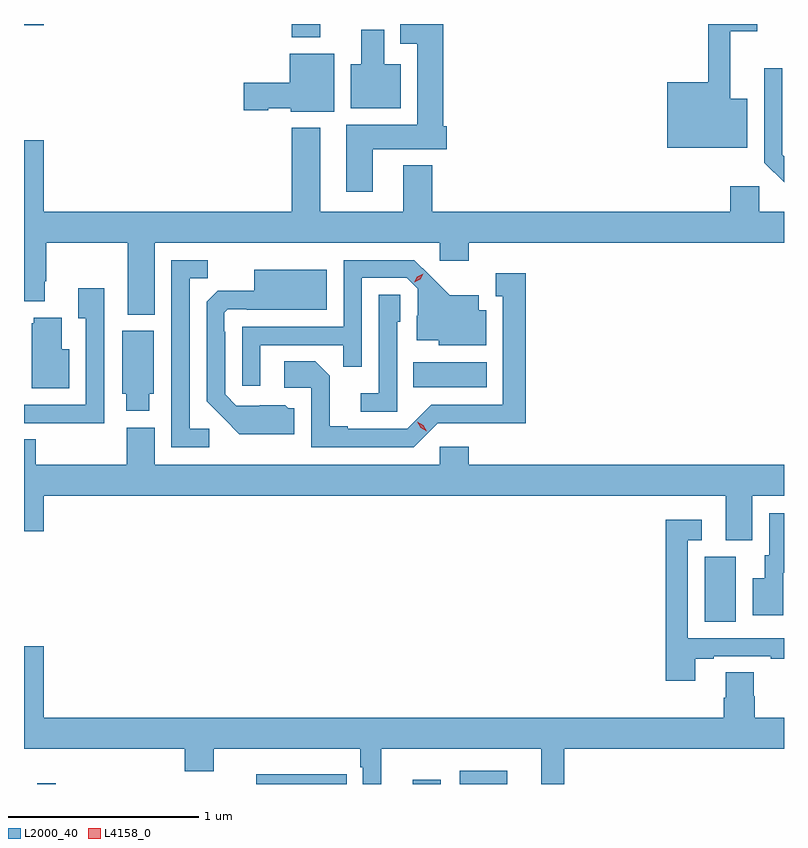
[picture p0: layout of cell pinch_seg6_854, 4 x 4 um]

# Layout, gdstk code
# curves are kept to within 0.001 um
import gdstk
lib = gdstk.Library(unit=1e-6, precision=1e-09)
def R(c, l, rs):  # rectangles x0, y0, x1, y1
    for r in rs: c.add(gdstk.rectangle(r[:2], r[2:], *l))
def P(c, l, *ps):  # polygons
    for p in ps: c.add(gdstk.Polygon(p, *l))
L2000_40 = (2000, 40)
L4158_0 = (4158, 0)

pinch_seg6_854 = lib.new_cell('pinch_seg6_854')
R(pinch_seg6_854, L2000_40, [(117.185,919.179,117.282,919.183), (119.162,919.179,119.308,919.201), (119.408,919.179,119.659,919.249), (120.698,920.032,120.862,920.376), (119.164,921.266,119.551,921.4), (118.523,923.108,118.675,923.179), (117.115,923.172,117.22,923.179)])
P(pinch_seg6_854, L2000_40, [(118.951,922.52),(119.339,922.52),(119.339,922.641),(119.321,922.641),(119.321,923.179),(119.096,923.179),(119.096,923.075),(119.186,923.075),(119.186,922.648),(118.811,922.648),(118.811,922.296),(118.951,922.296)],
  [(120.922,922.786),(120.833,922.786),(120.833,923.142),(120.973,923.142),(120.973,923.179),(120.715,923.179),(120.715,922.873),(120.5,922.873),(120.5,922.529),(120.922,922.529)],
  [(119.098,922.966),(119.011,922.966),(119.011,923.149),(118.889,923.149),(118.889,922.966),(118.835,922.966),(118.835,922.736),(119.098,922.736)],
  [(118.747,923.023),(118.514,923.023),(118.514,922.871),(118.272,922.871),(118.272,922.724),(118.401,922.724),(118.401,922.736),(118.518,922.736),(118.518,922.718),(118.747,922.718)],
  [(121.115,922.483),(121.107,922.491),(121.107,922.945),(121.011,922.945),(121.011,922.449),(121.115,922.345)],
  [(117.802,922.028),(119.304,922.028),(119.304,921.933),(119.456,921.933),(119.456,922.028),(121.115,922.028),(121.115,922.192),(120.984,922.192),(120.984,922.324),(120.833,922.324),(120.833,922.192),(119.264,922.192),(119.264,922.435),(119.111,922.435),(119.111,922.192),(118.675,922.192),(118.675,922.633),(118.523,922.633),(118.523,922.192),(117.22,922.192),(117.22,922.567),(117.115,922.567),(117.115,921.719),(117.223,921.719),(117.223,921.826),(117.231,921.826),(117.231,922.028),(117.662,922.028),(117.662,921.65),(117.802,921.65)],
  [(118.359,921.489),(118.795,921.489),(118.795,921.376),(118.893,921.376),(118.893,921.843),(119.13,921.843),(119.187,921.786),(119.187,921.644),(119.183,921.644),(119.183,921.515),(119.298,921.515),(119.298,921.488),(119.548,921.488),(119.548,921.672),(119.509,921.672),(119.509,921.751),(119.357,921.751),(119.17,921.936),(118.797,921.936),(118.797,921.585),(118.263,921.585),(118.263,921.276),(118.359,921.276)],
  [(118.09,921.048),(117.987,921.048),(117.987,921.841),(118.083,921.841),(118.083,921.936),(117.891,921.936),(117.891,920.952),(118.09,920.952)],
  [(118.537,921.156),(118.506,921.156),(118.49,921.172),(118.233,921.171),(118.173,921.231),(118.173,921.56),(118.17,921.56),(118.17,921.66),(118.188,921.678),(118.288,921.678),(118.288,921.674),(118.708,921.674),(118.708,921.886),(118.328,921.886),(118.328,921.775),(118.136,921.775),(118.077,921.716),(118.077,921.194),(118.249,921.02),(118.537,921.02)],
  [(119.292,921.078),(119.755,921.077),(119.755,921.868),(119.597,921.868),(119.597,921.747),(119.636,921.747),(119.636,921.174),(119.259,921.174),(119.133,921.048),(118.819,921.048),(118.819,921.061),(118.725,921.061),(118.725,921.328),(118.649,921.404),(118.485,921.404),(118.485,921.264),(118.626,921.264),(118.626,920.952),(119.166,920.952)],
  [(117.537,921.787),(117.401,921.787),(117.401,921.631),(117.441,921.631),(117.441,921.174),(117.115,921.174),(117.115,921.078),(117.265,921.078),(117.265,921.077),(117.537,921.077)],
  [(119.079,921.612),(119.094,921.612),(119.094,921.755),(118.983,921.755),(118.983,921.235),(118.887,921.235),(118.887,921.138),(119.079,921.138)],
  [(117.352,921.466),(117.313,921.466),(117.313,921.634),(117.167,921.634),(117.167,921.603),(117.155,921.603),(117.155,921.263),(117.352,921.263)],
  [(117.775,921.234),(117.799,921.234),(117.799,921.565),(117.632,921.565),(117.632,921.234),(117.653,921.234),(117.653,921.143),(117.775,921.143)],
  [(120.949,920.696),(121.115,920.696),(121.115,920.86),(119.456,920.86),(119.456,920.953),(119.304,920.953),(119.304,920.86),(117.802,920.86),(117.802,921.055),(117.655,921.055),(117.655,920.86),(117.177,920.86),(117.177,920.993),(117.115,920.993),(117.115,920.508),(117.22,920.508),(117.22,920.696),(120.809,920.696),(120.809,920.461),(120.949,920.461)],
  [(121.111,920.292),(121.115,920.292),(121.115,920.604),(121.038,920.604),(121.038,920.382),(121.013,920.382),(121.013,920.263),(120.95,920.263),(120.95,920.067),(121.111,920.067)],
  [(120.649,919.839),(120.745,919.839),(120.745,919.851),(121.045,919.851),(121.045,919.839),(121.115,919.839),(121.115,919.947),(120.609,919.947),(120.609,920.463),(120.682,920.463),(120.682,920.569),(120.493,920.569),(120.493,919.722),(120.649,919.722)],
  [(118.996,919.364),(119.837,919.364),(119.837,919.179),(119.959,919.179),(119.959,919.364),(121.115,919.364),(121.115,919.528),(120.962,919.528),(120.962,919.641),(120.957,919.641),(120.957,919.766),(120.809,919.766),(120.809,919.634),(120.797,919.634),(120.797,919.528),(117.22,919.528),(117.22,919.903),(117.115,919.903),(117.115,919.364),(117.962,919.364),(117.962,919.247),(118.114,919.247),(118.114,919.364),(118.886,919.364),(118.886,919.268),(118.899,919.268),(118.899,919.179),(118.996,919.179)],
  [(118.814,919.23),(118.706,919.23),(118.706,919.231),(118.338,919.231),(118.338,919.179),(118.814,919.179)])
P(pinch_seg6_854, L4158_0, [(119.234,921.035),(119.202,921.054),(119.185,921.086),(119.185,921.086),(119.185,921.086),(119.217,921.068),(119.234,921.035),(119.234,921.035)],
  [(119.17,921.82),(119.17,921.82),(119.186,921.85),(119.217,921.865),(119.217,921.865),(119.217,921.865),(119.2,921.835),(119.17,921.82)])

lib.write_gds('pinch_seg6_854.gds')
